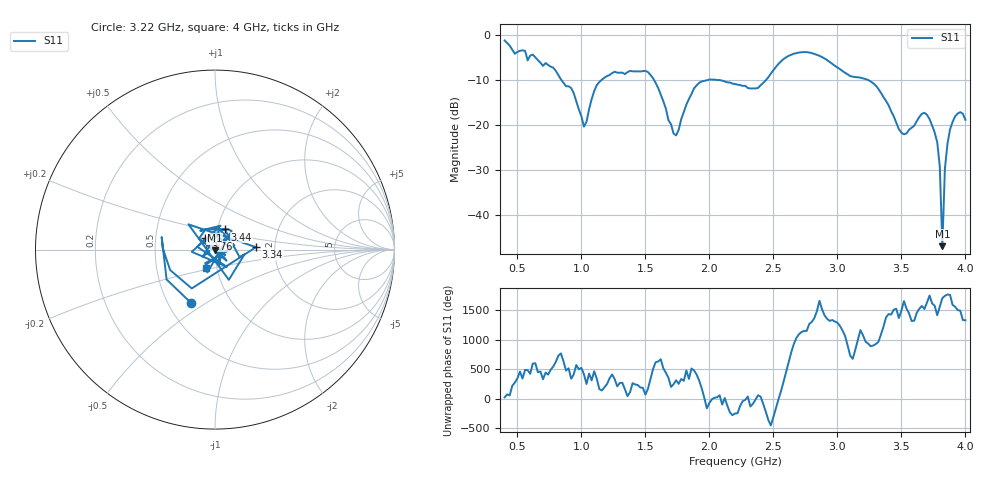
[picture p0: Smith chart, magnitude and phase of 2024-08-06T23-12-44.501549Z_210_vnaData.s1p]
!Created with skrf (http://scikit-rf.org).
# Hz S RI R 50.0
!freq ReS11 ImS11
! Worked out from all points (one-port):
!   181 points, 400 MHz to 4 GHz, reference 50 ohm
!   lowest |S11| = -46.9 dB at 3.82 GHz (marker M1), VSWR 1.01, Z = 49.9 - j0.443 ohm
!   |S11| at or under -10 dB: 1.568 GHz to 1.986 GHz (418 MHz wide, 23.5 % of centre); 2.076 GHz to 2.442 GHz (366.3 MHz wide, 16.2 % of centre); 3.241 GHz to end of sweep (the widest 3 of 4)
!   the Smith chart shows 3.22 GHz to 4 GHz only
!   S11 on the Smith chart (normalised r, x): 3.22 GHz: 0.65, -0.43; 3.34 GHz: 1.59, +0.05; 3.44 GHz: 1.09, +0.25; 3.76 GHz: 0.89, +0.11; 4 GHz: 0.89, -0.19
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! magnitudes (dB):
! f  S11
! 400 MHz  -1.2
! 860 MHz  -10.6
! 940 MHz  -12.9
! 1.02 GHz  -20.3
! 1.12 GHz  -11.1
! 1.3 GHz  -8.4
! 1.52 GHz  -8.2
! 1.6 GHz  -11.8
! 1.72 GHz  -21.9
! 1.76 GHz  -21.1
! 1.92 GHz  -10.6
! 2.2 GHz  -10.9
! 2.38 GHz  -11.8
! 2.66 GHz  -4.1
! 3.1 GHz  -9.1
! 3.22 GHz  -9.8
! 3.34 GHz  -12.8
! 3.44 GHz  -18.0
! 3.5 GHz  -21.7
! 3.56 GHz  -21.0
! 3.68 GHz  -17.3
! 3.76 GHz  -21.7
! 3.8 GHz  -29.2
! 3.82 GHz  -46.9
! 3.84 GHz  -29.6
! 3.88 GHz  -21.0
! 3.94 GHz  -17.4
! 4 GHz  -18.8
